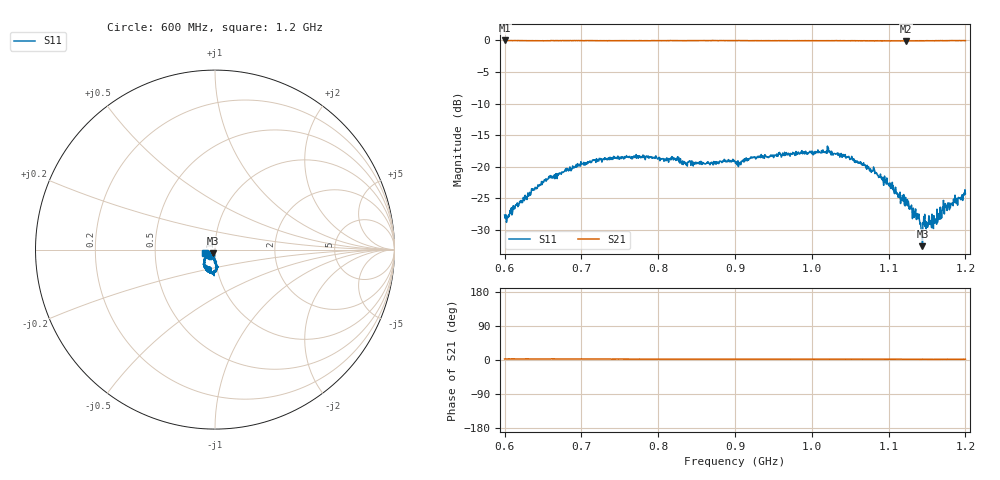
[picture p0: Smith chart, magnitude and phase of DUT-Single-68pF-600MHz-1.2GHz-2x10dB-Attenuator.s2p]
# HZ S RI R 50
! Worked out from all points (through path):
!   1010 points, 600 MHz to 1.2 GHz, reference 50 ohm
!   highest |S21| = -0.01 dB at 600.6 MHz (marker M1); lowest = -0.1 dB at 1.123 GHz (marker M2)
!   lowest |S11| = -32.6 dB at 1.144 GHz (marker M3), VSWR 1.05, Z = 48.7 - j1.9 ohm
!   |S11| at or under -10 dB: start of sweep to end of sweep
!   S12 and S22 are empty: the file has one direction only
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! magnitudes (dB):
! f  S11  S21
! 600 MHz  -27.7  0.0
! 600.6 MHz  -28.2  0.0
! 654.7 MHz  -22.0  -0.1
! 700.5 MHz  -19.6  0.0
! 744.5 MHz  -18.7  0.0
! 800.4 MHz  -18.6  0.0
! 823.6 MHz  -18.7  0.0
! 835.5 MHz  -19.6  0.0
! 900.3 MHz  -19.4  0.0
! 931.2 MHz  -18.5  -0.1
! 1 GHz  -18.0  0.0
! 1.021 GHz  -17.4  0.0
! 1.05 GHz  -18.9  -0.1
! 1.082 GHz  -20.5  -0.1
! 1.1 GHz  -22.9  -0.1
! 1.123 GHz  -26.1  -0.1
! 1.137 GHz  -27.4  -0.1
! 1.141 GHz  -29.2  -0.1
! 1.144 GHz  -32.6  -0.1
! 1.161 GHz  -28.5  0.0
! 1.173 GHz  -27.5  0.0
! 1.2 GHz  -24.3  0.0
